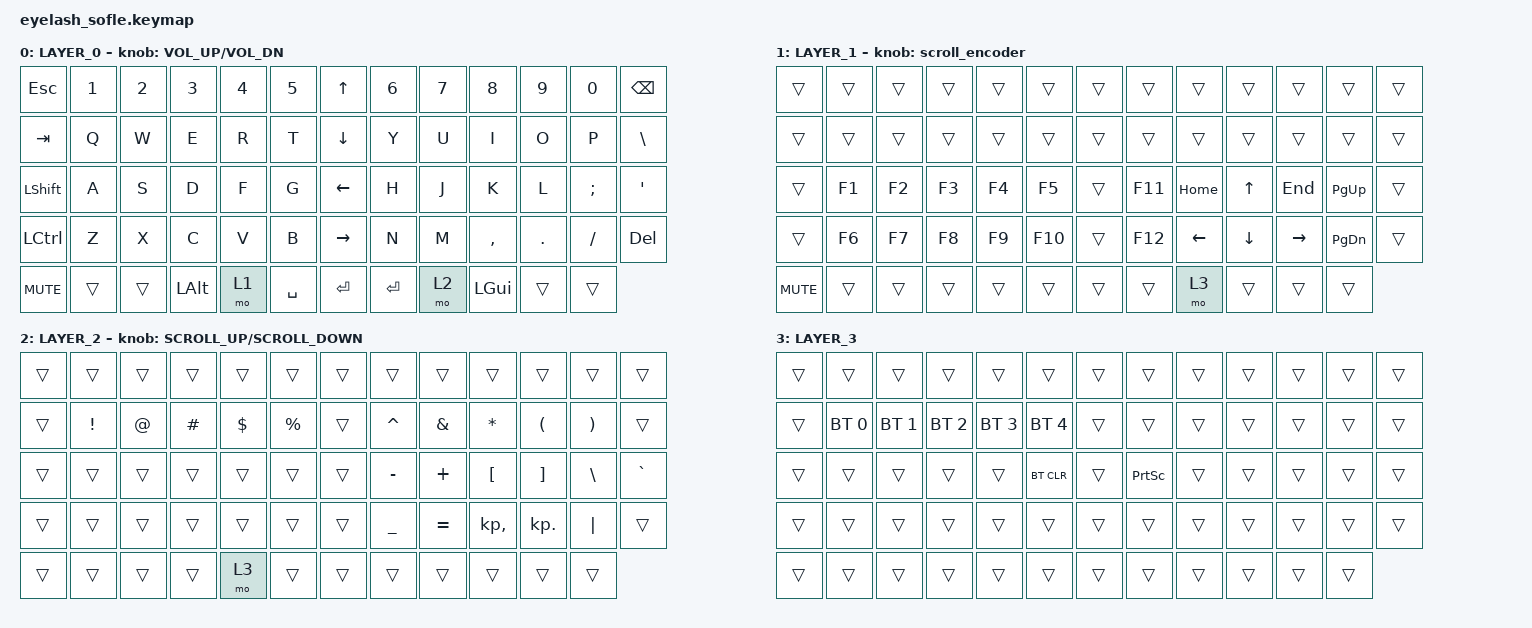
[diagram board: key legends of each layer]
#define ZMK_POINTING_DEFAULT_MOVE_VAL 1200  // 600
#define ZMK_POINTING_DEFAULT_SCRL_VAL 35    // 10

#include <input/processors.dtsi>
#include <zephyr/dt-bindings/input/input-event-codes.h>
#include <behaviors.dtsi>
#include <dt-bindings/zmk/bt.h>
#include <dt-bindings/zmk/keys.h>
#include <dt-bindings/zmk/pointing.h>

/ {
    zip_scroll_scaler: zip_scroll_scaler {
        compatible = "zmk,input-processor-scaler";
        #input-processor-cells = <2>;
        type = <INPUT_EV_REL>;
        codes = <INPUT_REL_WHEEL INPUT_REL_HWHEEL>;
        track-remainders;
    };
};

&mmv_input_listener { input-processors = <&zip_xy_scaler 2 1>; };

&msc_input_listener { input-processors = <&zip_scroll_scaler 2 1>; };

&msc {
    acceleration-exponent = <0>;      // 0
    time-to-max-speed-ms = <0>;       // 300
    delay-ms = <0>;                   // 0
};

&mmv {
    time-to-max-speed-ms = <400>;
    acceleration-exponent = <1>;
};

/ {
    scroll_encoder: scroll_encoder {
        compatible = "zmk,behavior-sensor-rotate";
        #sensor-binding-cells = <0>;
        bindings = <&msc SCRL_DOWN>, <&msc SCRL_UP>;

        tap-ms = <30>;
    };

    behaviors {
    };

    macros {
        vpn_menu: vpn_menu {
            compatible = "zmk,behavior-macro";
            #binding-cells = <0>;
            bindings = <&kp LS(LA(LC(P)))>;
            label = "VPN_MENU";
        };
    };

    keymap {
        compatible = "zmk,keymap";

        LAYER_0 {
            bindings = <
&kp ESC         &kp N1  &kp N2  &kp N3        &kp N4  &kp N5       &kp UP_ARROW     &kp N6     &kp N7  &kp N8        &kp N9   &kp N0    &kp BACKSPACE
&kp TAB         &kp Q   &kp W   &kp E         &kp R   &kp T        &kp DOWN_ARROW   &kp Y      &kp U   &kp I         &kp O    &kp P     &kp BACKSLASH
&kp LEFT_SHIFT  &kp A   &kp S   &kp D         &kp F   &kp G        &kp LEFT_ARROW   &kp H      &kp J   &kp K         &kp L    &kp SEMI  &kp SINGLE_QUOTE
&kp LCTRL       &kp Z   &kp X   &kp C         &kp V   &kp B        &kp RIGHT_ARROW  &kp N      &kp M   &kp COMMA     &kp DOT  &kp FSLH  &kp DELETE
&kp C_MUTE      &trans  &trans  &kp LEFT_ALT  &mo 1   &kp SPACE    &kp ENTER        &kp ENTER  &mo 2   &kp LEFT_GUI  &trans   &trans
            >;

            sensor-bindings = <&inc_dec_kp C_VOLUME_UP C_VOL_DN>;
            display-name = "LAYER_0";
        };

        LAYER_1 {
            bindings = <
&trans      &trans  &trans  &trans  &trans  &trans     &trans  &trans   &trans    &trans    &trans     &trans         &trans
&trans      &trans  &trans  &trans  &trans  &trans     &trans  &trans   &trans    &trans    &trans     &trans         &trans
&trans      &kp F1  &kp F2  &kp F3  &kp F4  &kp F5     &trans  &kp F11  &kp HOME  &kp UP    &kp END    &kp PAGE_UP    &trans
&trans      &kp F6  &kp F7  &kp F8  &kp F9  &kp F10    &trans  &kp F12  &kp LEFT  &kp DOWN  &kp RIGHT  &kp PAGE_DOWN  &trans
&kp C_MUTE  &trans  &trans  &trans  &trans  &trans     &trans  &trans   &mo 3     &trans    &trans     &trans
            >;

            display-name = "LAYER_1";
            sensor-bindings = <&scroll_encoder>;
        };

        LAYER_2 {
            bindings = <
&trans  &trans    &trans       &trans    &trans      &trans         &trans  &trans          &trans         &trans        &trans      &trans         &trans
&trans  &kp EXCL  &kp AT_SIGN  &kp HASH  &kp DOLLAR  &kp PERCENT    &trans  &kp CARET       &kp AMPERSAND  &kp ASTERISK  &kp LPAR    &kp RPAR       &trans
&trans  &trans    &trans       &trans    &trans      &trans         &trans  &kp MINUS       &kp PLUS       &kp LBKT      &kp RBKT    &kp BACKSLASH  &kp GRAVE
&trans  &trans    &trans       &trans    &trans      &trans         &trans  &kp UNDERSCORE  &kp EQUAL      &kp KP_COMMA  &kp KP_DOT  &kp PIPE       &trans
&trans  &trans    &trans       &trans    &mo 3       &trans         &trans  &trans          &trans         &trans        &trans      &trans
            >;

            sensor-bindings = <&inc_dec_kp K_SCROLL_UP K_SCROLL_DOWN>;
        };

        LAYER_3 {
            bindings = <
&trans  &trans        &trans        &trans        &trans        &trans          &trans  &trans           &trans  &trans  &trans  &trans  &trans
&trans  &bt BT_SEL 0  &bt BT_SEL 1  &bt BT_SEL 2  &bt BT_SEL 3  &bt BT_SEL 4    &trans  &trans           &trans  &trans  &trans  &trans  &trans
&trans  &trans        &trans        &trans        &trans        &bt BT_CLR      &trans  &kp PRINTSCREEN  &trans  &trans  &trans  &trans  &trans
&trans  &trans        &trans        &trans        &trans        &trans          &trans  &trans           &trans  &trans  &trans  &trans  &trans
&trans  &trans        &trans        &trans        &trans        &trans          &trans  &trans           &trans  &trans  &trans  &trans
            >;
        };
    };
};
